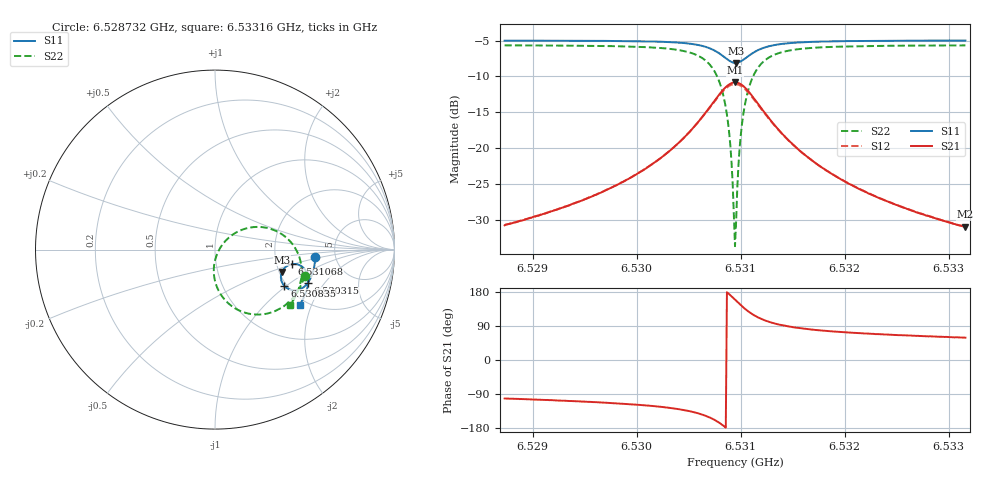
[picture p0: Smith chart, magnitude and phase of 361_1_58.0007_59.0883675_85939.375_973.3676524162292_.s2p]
#  HZ  S  RI  R  50.00
! Rohde & Schwarz Vector Network Analyzer
! Rohde-Schwarz,ZNB20-2Port,1311601062101988,3.16
! Created: UTC 3/21/2024, 1:06:25 AM
! freq[Hz]  re:S11  im:S11  re:S21  im:S21  re:S12  im:S12  re:S22  im:S22
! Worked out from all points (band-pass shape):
!   401 points, 6.528732 GHz to 6.53316 GHz, reference 50 ohm
!   highest |S21| = -10.82 dB at 6.530946 GHz (marker M1); lowest = -30.9 dB at 6.53316 GHz (marker M2)
!   |S21| within 3 dB of the highest: 6.530726 GHz to 6.531168 GHz (442.1 kHz wide, 0.00677 % of centre)
!   lowest |S11| = -8.1 dB at 6.530957 GHz (marker M3), VSWR 2.30, Z = 103 - j30.6 ohm
!   |S11| at or under -10 dB: nowhere
!   |S22| runs from -33.6 to -5.7 dB; largest |S21 - S12| = 0.011
!   S11 on the Smith chart (normalised r, x): 6.528732 GHz: 3.50, -0.44; 6.530315 GHz: 2.60, -1.39; 6.530835 GHz: 1.94, -0.97; 6.531068 GHz: 2.43, -0.48; 6.53316 GHz: 1.82, -1.65
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6.5287315e9  0.5598 -0.0427  -0.00583 -0.0285  -0.00633 -0.0284  0.5 -0.1459
6.5294733e9  0.5508 -0.1035  -0.0146 -0.0407  -0.0153 -0.0406  0.4717 -0.2133
6.5302152e9  0.5243 -0.1749  -0.0456 -0.0702  -0.0476 -0.0691  0.3954 -0.3062
6.5303148e9  0.5164 -0.1865  -0.0565 -0.077  -0.0586 -0.0757  0.3727 -0.3225
6.5306691e9  0.454 -0.2261  -0.152 -0.0954  -0.1542 -0.0896  0.1908 -0.3574
6.5307688e9  0.4151 -0.2221  -0.2121 -0.0724  -0.2118 -0.0639  0.0879 -0.3106
6.5308352e9  0.3864 -0.2024  -0.2553 -0.0285  -0.2512 -0.0194  0.0207 -0.23
6.5308684e9  0.3747 -0.1854  -0.2711 0.00532  -0.2649 0.0136  -0.000772 -0.1713
6.5308905e9  0.3695 -0.1716  -0.277 0.0313  -0.2695 0.0388  -0.00663 -0.1267
6.5309016e9  0.368 -0.164  -0.2781 0.0452  -0.2699 0.0523  -0.00648 -0.1034
6.5309238e9  0.3673 -0.1484  -0.2765 0.074  -0.2673 0.0794  0.00101 -0.0564
6.5309348e9  0.3682 -0.1405  -0.2734 0.0882  -0.264 0.0928  0.00831 -0.0332
6.5309459e9  0.37 -0.1327  -0.2689 0.1024  -0.2593 0.1061  0.0178 -0.0108
6.530957e9  0.3726 -0.1253  -0.2632 0.116  -0.2535 0.1187  0.0295 0.0107
6.5310013e9  0.3903 -0.0996  -0.2284 0.1616  -0.2195 0.1611  0.0939 0.08
6.5310345e9  0.4084 -0.0872  -0.1947 0.1837  -0.1875 0.1818  0.1526 0.1114
6.5310677e9  0.4276 -0.081  -0.1604 0.1953  -0.1548 0.1927  0.2118 0.125
6.5311452e9  0.4661 -0.0845  -0.0926 0.1934  -0.0897 0.191  0.3259 0.1099
6.5312559e9  0.4985 -0.1071  -0.0356 0.1638  -0.034 0.1624  0.419 0.0457
6.5316877e9  0.5199 -0.1831  0.0141 0.081  0.015 0.0806  0.4831 -0.1305
6.5324296e9  0.4995 -0.2558  0.0165 0.0387  0.0174 0.0385  0.4552 -0.2459
6.5331603e9  0.4712 -0.309  0.0147 0.0243  0.015 0.024  0.4197 -0.308
